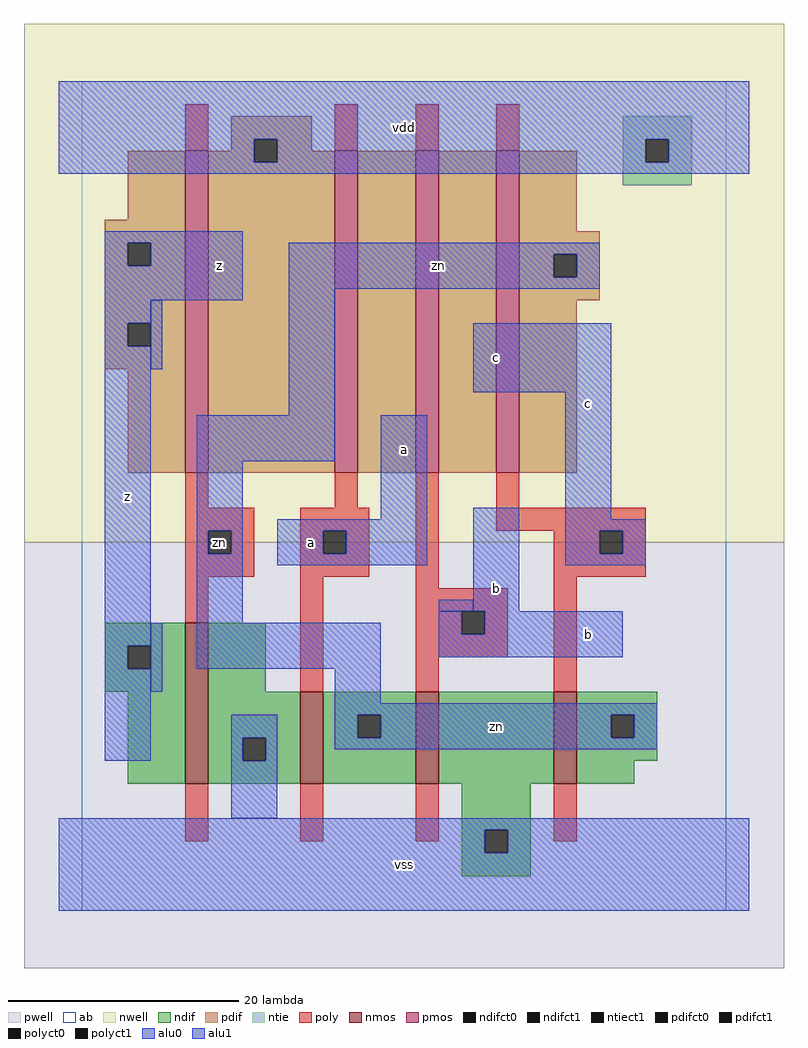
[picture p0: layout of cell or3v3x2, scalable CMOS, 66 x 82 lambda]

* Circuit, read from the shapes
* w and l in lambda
.subckt or3v3x2 a b c vdd vss z zn
M1 vss zn z VSUBS nfet w=14 l=2
M2 zn a vss VSUBS nfet w=8 l=2
M3 vss b zn VSUBS nfet w=8 l=2
M4 zn c vss VSUBS nfet w=8 l=2
M5 vdd zn z vdd pfet w=28 l=2
M6 n1 a vdd vdd pfet w=28 l=2
M7 n2 b n1 vdd pfet w=28 l=2
M8 zn c n2 vdd pfet w=28 l=2
.ends

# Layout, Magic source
magic
tech scmos
<< ab >>
rect 0 0 56 72
<< nwell >>
rect -5 32 61 77
<< pwell >>
rect -5 -5 61 32
<< poly >>
rect 9 66 11 70
rect 22 66 24 70
rect 29 66 31 70
rect 36 66 38 70
rect 9 35 11 38
rect 22 35 24 38
rect 9 33 15 35
rect 9 31 11 33
rect 13 31 15 33
rect 9 29 15 31
rect 19 33 25 35
rect 19 31 21 33
rect 23 31 25 33
rect 19 29 25 31
rect 9 25 11 29
rect 19 19 21 29
rect 29 28 31 38
rect 36 35 38 38
rect 36 33 49 35
rect 41 31 45 33
rect 47 31 49 33
rect 41 29 49 31
rect 29 26 37 28
rect 29 24 33 26
rect 35 24 37 26
rect 29 22 37 24
rect 29 19 31 22
rect 41 19 43 29
rect 9 6 11 11
rect 19 6 21 11
rect 29 6 31 11
rect 41 6 43 11
<< ndif >>
rect 2 23 9 25
rect 2 21 4 23
rect 6 21 9 23
rect 2 19 9 21
rect 4 11 9 19
rect 11 19 16 25
rect 11 15 19 19
rect 11 13 14 15
rect 16 13 19 15
rect 11 11 19 13
rect 21 17 29 19
rect 21 15 24 17
rect 26 15 29 17
rect 21 11 29 15
rect 31 11 41 19
rect 43 17 50 19
rect 43 15 46 17
rect 48 15 50 17
rect 43 13 50 15
rect 43 11 48 13
rect 33 7 39 11
rect 33 5 35 7
rect 37 5 39 7
rect 33 3 39 5
<< pdif >>
rect 13 67 20 69
rect 13 66 15 67
rect 4 60 9 66
rect 2 58 9 60
rect 2 56 4 58
rect 6 56 9 58
rect 2 51 9 56
rect 2 49 4 51
rect 6 49 9 51
rect 2 47 9 49
rect 4 38 9 47
rect 11 65 15 66
rect 17 66 20 67
rect 17 65 22 66
rect 11 38 22 65
rect 24 38 29 66
rect 31 38 36 66
rect 38 59 43 66
rect 38 57 45 59
rect 38 55 41 57
rect 43 55 45 57
rect 38 53 45 55
rect 38 38 43 53
<< alu1 >>
rect -2 67 58 72
rect -2 65 15 67
rect 17 65 49 67
rect 51 65 58 67
rect -2 64 58 65
rect 2 58 14 59
rect 2 56 4 58
rect 6 56 14 58
rect 2 53 14 56
rect 2 51 6 53
rect 2 49 4 51
rect 2 23 6 49
rect 34 45 46 51
rect 26 34 30 43
rect 17 33 30 34
rect 17 31 21 33
rect 23 31 30 33
rect 17 30 30 31
rect 34 26 38 35
rect 42 34 46 45
rect 42 33 49 34
rect 42 31 45 33
rect 47 31 49 33
rect 42 30 49 31
rect 2 21 4 23
rect 2 13 6 21
rect 31 24 33 26
rect 35 24 47 26
rect 31 22 47 24
rect -2 7 58 8
rect -2 5 35 7
rect 37 5 58 7
rect -2 0 58 5
<< ntie >>
rect 47 67 53 69
rect 47 65 49 67
rect 51 65 53 67
rect 47 63 53 65
<< nmos >>
rect 9 11 11 25
rect 19 11 21 19
rect 29 11 31 19
rect 41 11 43 19
<< pmos >>
rect 9 38 11 66
rect 22 38 24 66
rect 29 38 31 66
rect 36 38 38 66
<< polyct0 >>
rect 11 31 13 33
<< polyct1 >>
rect 21 31 23 33
rect 45 31 47 33
rect 33 24 35 26
<< ndifct0 >>
rect 14 13 16 15
rect 24 15 26 17
rect 46 15 48 17
<< ndifct1 >>
rect 4 21 6 23
rect 35 5 37 7
<< ntiect1 >>
rect 49 65 51 67
<< pdifct0 >>
rect 41 55 43 57
<< pdifct1 >>
rect 4 56 6 58
rect 4 49 6 51
rect 15 65 17 67
<< alu0 >>
rect 18 57 45 58
rect 18 55 41 57
rect 43 55 45 57
rect 18 54 45 55
rect 6 47 7 53
rect 18 43 22 54
rect 10 39 22 43
rect 10 33 14 39
rect 10 31 11 33
rect 13 31 14 33
rect 10 25 14 31
rect 31 26 34 27
rect 6 19 7 25
rect 10 21 26 25
rect 22 18 26 21
rect 22 17 50 18
rect 13 15 17 17
rect 13 13 14 15
rect 16 13 17 15
rect 22 15 24 17
rect 26 15 46 17
rect 48 15 50 17
rect 22 14 50 15
rect 13 8 17 13
<< labels >>
rlabel polyct0 12 32 12 32 6 zn
rlabel alu0 36 16 36 16 6 zn
rlabel alu0 31 56 31 56 6 zn
rlabel alu1 4 36 4 36 6 z
rlabel alu1 20 32 20 32 6 a
rlabel alu1 12 56 12 56 6 z
rlabel alu1 28 4 28 4 6 vss
rlabel alu1 36 28 36 28 6 b
rlabel alu1 28 40 28 40 6 a
rlabel alu1 36 48 36 48 6 c
rlabel alu1 28 68 28 68 6 vdd
rlabel alu1 44 24 44 24 6 b
rlabel alu1 44 44 44 44 6 c
<< end >>
